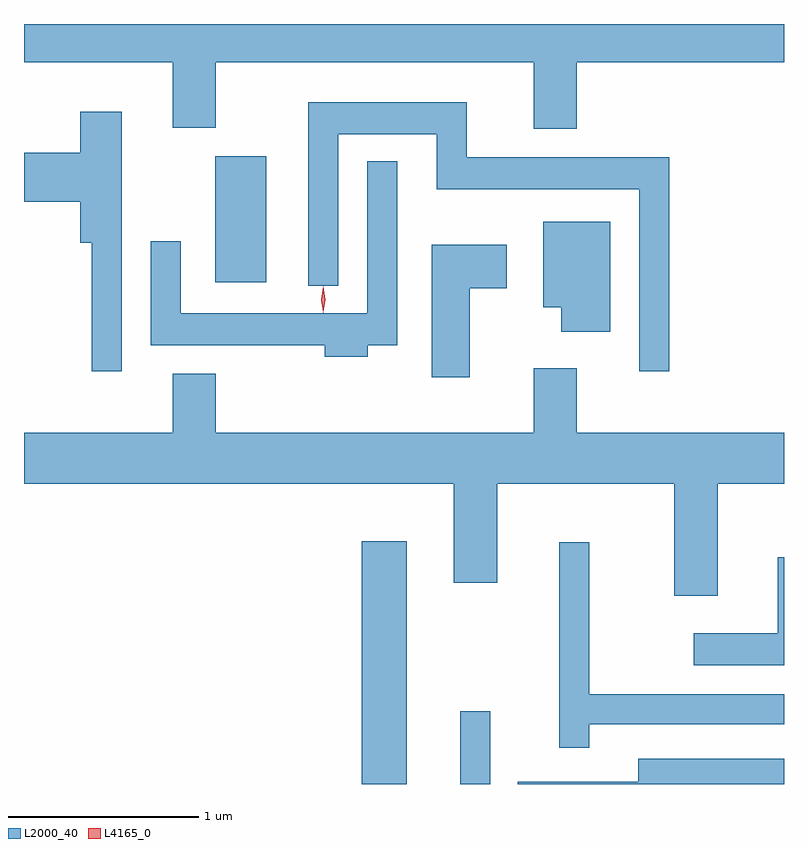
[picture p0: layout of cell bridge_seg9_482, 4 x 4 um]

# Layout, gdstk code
import gdstk
lib = gdstk.Library(unit=1e-6, precision=1e-09)
def R(c, l, rs):  # rectangles x0, y0, x1, y1
    for r in rs: c.add(gdstk.rectangle(r[:2], r[2:], *l))
def P(c, l, *ps):  # polygons
    for p in ps: c.add(gdstk.Polygon(p, *l))
L2000_40 = (2000, 40)
L4165_0 = (4165, 0)

bridge_seg9_482 = lib.new_cell('bridge_seg9_482')
R(bridge_seg9_482, L2000_40, [(559.026,1968.036,559.264,1969.314), (559.546,1968.036,559.704,1968.418), (558.256,1970.676,558.524,1971.339)])
P(bridge_seg9_482, L2000_40, [(560.159,1971.836),(561.249,1971.836),(561.249,1972.036),(557.249,1972.036),(557.249,1971.836),(558.031,1971.836),(558.031,1971.491),(558.259,1971.491),(558.259,1971.836),(559.931,1971.836),(559.931,1971.486),(560.159,1971.486)],
  [(560.644,1971.334),(559.579,1971.334),(559.579,1971.624),(558.746,1971.624),(558.746,1970.658),(558.904,1970.658),(558.904,1971.456),(559.421,1971.456),(559.421,1971.166),(560.486,1971.166),(560.486,1970.208),(560.644,1970.208)],
  [(557.764,1971.574),(557.546,1971.574),(557.546,1971.359),(557.249,1971.359),(557.249,1971.101),(557.546,1971.101),(557.546,1970.886),(557.606,1970.886),(557.606,1970.208),(557.764,1970.208)],
  [(559.059,1970.346),(559.214,1970.346),(559.214,1971.313),(559.056,1971.313),(559.056,1970.514),(558.074,1970.514),(558.074,1970.893),(557.916,1970.893),(557.916,1970.346),(558.831,1970.346),(558.831,1970.286),(559.059,1970.286)],
  [(560.334,1970.994),(559.981,1970.994),(559.981,1970.546),(560.076,1970.546),(560.076,1970.416),(560.334,1970.416)],
  [(559.594,1970.646),(559.789,1970.646),(559.789,1970.874),(559.396,1970.874),(559.396,1970.176),(559.594,1970.176)],
  [(560.899,1969.616),(561.249,1969.616),(561.249,1969.884),(560.159,1969.884),(560.159,1970.224),(559.931,1970.224),(559.931,1969.884),(558.259,1969.884),(558.259,1970.194),(558.031,1970.194),(558.031,1969.884),(557.249,1969.884),(557.249,1969.616),(559.511,1969.616),(559.511,1969.096),(559.739,1969.096),(559.739,1969.616),(560.671,1969.616),(560.671,1969.026),(560.899,1969.026)],
  [(560.224,1968.351),(561.249,1968.351),(561.249,1968.509),(560.224,1968.509),(560.224,1969.308),(560.066,1969.308),(560.066,1968.228),(560.224,1968.228)],
  [(561.249,1969.229),(561.216,1969.229),(561.216,1968.829),(560.773,1968.829),(560.773,1968.661),(561.249,1968.661)],
  [(561.249,1968.169),(560.481,1968.169),(560.481,1968.049),(559.848,1968.049),(559.848,1968.036),(561.249,1968.036)])
P(bridge_seg9_482, L4165_0, [(558.825,1970.517),(558.824,1970.518),(558.815,1970.586),(558.824,1970.656),(558.825,1970.656),(558.825,1970.656),(558.835,1970.586),(558.825,1970.518)],
  [(558.823,1970.519),(558.823,1970.52),(558.813,1970.586),(558.823,1970.652),(558.823,1970.653),(558.824,1970.652),(558.833,1970.586),(558.824,1970.52)])

lib.write_gds('bridge_seg9_482.gds')
